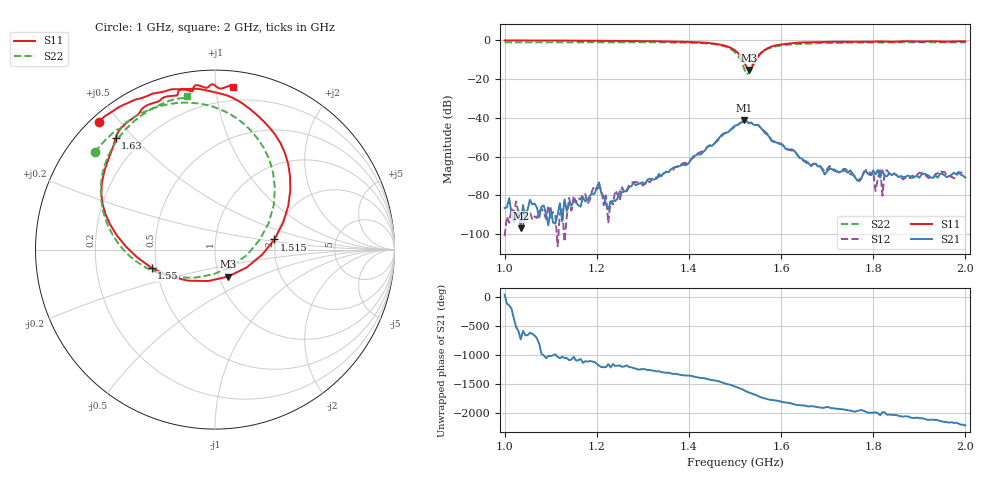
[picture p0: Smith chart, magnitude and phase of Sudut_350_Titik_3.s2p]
# Hz S RI R 50
! CMT, C1220, 16058040, 17.2.0/1
! Date: 14/08/2018 12:42:06
! Data: Format (Calibration Info)
! Freq  S11: Re/Im (F2)  S21: Re/Im (F2)  S12: Re/Im (F2)  S22: Re/Im (F2)
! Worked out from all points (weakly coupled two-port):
!   201 points, 1 GHz to 2 GHz, reference 50 ohm
!   highest |S21| = -41.38 dB at 1.52 GHz (marker M1); lowest = -96.8 dB at 1.035 GHz (marker M2)
!   lowest |S11| = -15.5 dB at 1.53 GHz (marker M3), VSWR 1.40, Z = 55.2 - j17 ohm
!   |S11| at or under -10 dB: 1.516 GHz to 1.547 GHz (30.24 MHz wide, 1.97 % of centre)
!   |S22| runs from -17.7 to -1.2 dB; largest |S21 - S12| = 0.00041
!   S11 on the Smith chart (normalised r, x): 1 GHz: 0.02, +0.44; 1.515 GHz: 1.97, +0.25; 1.55 GHz: 0.47, -0.11; 1.63 GHz: 0.11, +0.44; 2 GHz: 0.10, +1.11
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1e9  -0.6481 0.7136  3.4e-05 3.28e-05  -2.59e-06 8.59e-06  -0.6704 0.5418
1.035e9  -0.62 0.7383  1.43e-05 -1.72e-06  1.83e-05 -6.59e-06  -0.6512 0.5653
1.17e9  -0.4742 0.8222  5.85e-05 -6.91e-05  8.88e-05 -6.46e-05  -0.5581 0.6593
1.205e9  -0.4281 0.8395  -3.13e-05 -0.000216  -9.71e-06 -0.000161  -0.5271 0.6739
1.25e9  -0.3566 0.8656  -1.1e-05 -0.000128  -1.57e-05 -7.28e-05  -0.4905 0.7111
1.335e9  -0.2126 0.8932  -0.000348 8.29e-05  -0.00028 0.000119  -0.3731 0.7761
1.45e9  0.1838 0.7917  0.00184 0.000377  0.00189 0.000275  0.0183 0.7853
1.5e9  0.4195 0.3317  -0.000933 -0.00617  -0.000902 -0.00582  0.3339 0.34
1.515e9  0.3313 0.0567  -0.00602 -0.00472  -0.00598 -0.00488  0.2488 0.0544
1.52e9  0.2626 -0.0285  -0.00813 -0.0026  -0.00822 -0.00269  0.1784 -0.0298
1.53e9  0.0736 -0.1499  -0.00675 0.00232  -0.00685 0.00227  -0.0119 -0.1384
1.55e9  -0.3532 -0.102  -0.00122 0.00642  -0.00141 0.00632  -0.384 -0.101
1.63e9  -0.5539 0.6207  0.000936 -0.000969  0.000961 -0.000929  -0.6151 0.4664
1.67e9  -0.4388 0.7454  0.00014 -0.000616  0.000181 -0.000636  -0.5625 0.5838
1.765e9  -0.2511 0.8557  -0.000229 -9.22e-05  -0.000225 -9.21e-05  -0.4399 0.7241
1.8e9  -0.2038 0.8805  -0.000437 6.1e-05  -0.000393 7.1e-05  -0.3962 0.7561
1.805e9  -0.1991 0.8869  -0.00035 7.73e-07  -0.000113 -6.43e-05  -0.3902 0.7608
1.815e9  -0.1815 0.8928  -0.000185 0.000221  -0.000349 0.000357  -0.3785 0.7681
1.82e9  -0.1696 0.8917  -0.000441 -1.72e-05  -6.79e-05 7.22e-05  -0.3727 0.7719
1.825e9  -0.1563 0.8894  -0.000311 1.78e-05  -0.000337 0.000252  -0.3667 0.7751
1.835e9  -0.1338 0.8829  -0.000282 0.000248  -0.00023 0.000267  -0.3551 0.7826
2e9  0.1011 0.9069  0.000196 -0.000211  0.000248 -0.00025  -0.1553 0.854
